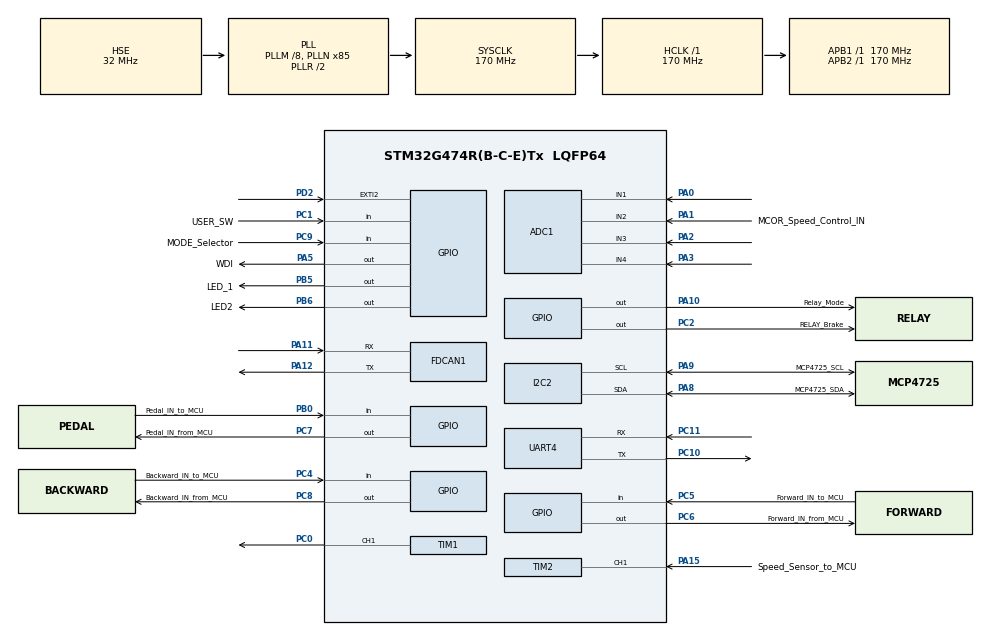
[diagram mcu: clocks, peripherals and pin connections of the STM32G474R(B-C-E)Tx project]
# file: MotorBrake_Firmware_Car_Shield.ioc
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ADC1.Channel-0\#ChannelRegularConversion=ADC_CHANNEL_1
ADC1.Channel-1\#ChannelRegularConversion=ADC_CHANNEL_2
ADC1.Channel-2\#ChannelRegularConversion=ADC_CHANNEL_3
ADC1.Channel-3\#ChannelRegularConversion=ADC_CHANNEL_4
ADC1.ContinuousConvMode=ENABLE
ADC1.DMAContinuousRequests=ENABLE
ADC1.NbrOfConversion=4
ADC1.NbrOfConversionFlag=1
ADC1.OffsetNumber-0\#ChannelRegularConversion=ADC_OFFSET_NONE
ADC1.OffsetNumber-1\#ChannelRegularConversion=ADC_OFFSET_NONE
ADC1.OffsetNumber-2\#ChannelRegularConversion=ADC_OFFSET_NONE
ADC1.OffsetNumber-3\#ChannelRegularConversion=ADC_OFFSET_NONE
ADC1.Rank-0\#ChannelRegularConversion=1
ADC1.Rank-1\#ChannelRegularConversion=2
ADC1.Rank-2\#ChannelRegularConversion=3
ADC1.Rank-3\#ChannelRegularConversion=4
ADC1.SamplingTime-0\#ChannelRegularConversion=ADC_SAMPLETIME_640CYCLES_5
ADC1.SamplingTime-1\#ChannelRegularConversion=ADC_SAMPLETIME_640CYCLES_5
ADC1.SamplingTime-2\#ChannelRegularConversion=ADC_SAMPLETIME_640CYCLES_5
ADC1.SamplingTime-3\#ChannelRegularConversion=ADC_SAMPLETIME_640CYCLES_5
ADC1.master=1
Dma.ADC1.0.Direction=DMA_PERIPH_TO_MEMORY
Dma.ADC1.0.EventEnable=DISABLE
Dma.ADC1.0.Instance=DMA1_Channel1
Dma.ADC1.0.MemDataAlignment=DMA_MDATAALIGN_HALFWORD
Dma.ADC1.0.MemInc=DMA_MINC_ENABLE
Dma.ADC1.0.Mode=DMA_CIRCULAR
Dma.ADC1.0.PeriphDataAlignment=DMA_PDATAALIGN_HALFWORD
Dma.ADC1.0.PeriphInc=DMA_PINC_DISABLE
Dma.ADC1.0.Polarity=HAL_DMAMUX_REQ_GEN_RISING
Dma.ADC1.0.Priority=DMA_PRIORITY_LOW
Dma.ADC1.0.RequestNumber=1
Dma.ADC1.0.SignalID=NONE
Dma.ADC1.0.SyncEnable=DISABLE
Dma.ADC1.0.SyncPolarity=HAL_DMAMUX_SYNC_NO_EVENT
Dma.ADC1.0.SyncRequestNumber=1
Dma.ADC1.0.SyncSignalID=NONE
Dma.Request0=ADC1
FDCAN1.CalculateBaudRateNominal=250000
FDCAN1.CalculateTimeBitNominal=4000
FDCAN1.CalculateTimeQuantumNominal=235.2941176470588
FDCAN1.AutoRetransmission=ENABLE
FDCAN1.NominalPrescaler=40
FDCAN1.NominalSyncJumpWidth=1
FDCAN1.NominalTimeSeg1=13
FDCAN1.NominalTimeSeg2=3
FDCAN1.StdFiltersNbr=2
I2C2.Timing=0x40B285C2
Mcu.Family=STM32G4
Mcu.Name=STM32G474R(B-C-E)Tx
Mcu.Package=LQFP64
NVIC.DMA1_Channel1_IRQn=true\:0\:0\:false\:false\:true\:false\:true\:true
NVIC.EXTI2_IRQn=true\:0\:0\:false\:false\:true\:true\:true\:true
NVIC.PriorityGroup=NVIC_PRIORITYGROUP_4
NVIC.TIM6_DAC_IRQn=true\:0\:0\:false\:false\:true\:true\:true\:true
PA0.Mode=IN1-Single-Ended
PA0.Signal=ADC1_IN1
PA1.GPIO_Label=MCOR_Speed_Control_IN
PA1.Mode=IN2-Single-Ended
PA1.Signal=ADC1_IN2
PA10.GPIO_Label=Relay_Mode
PA10.Signal=GPIO_Output
PA11.Mode=FDCAN_Activate
PA11.Signal=FDCAN1_RX
PA12.Mode=FDCAN_Activate
PA12.Signal=FDCAN1_TX
PA13.Mode=Serial_Wire
PA13.Signal=SYS_JTMS-SWDIO
PA14.Mode=Serial_Wire
PA14.Signal=SYS_JTCK-SWCLK
PA15.GPIO_Label=Speed_Sensor_to_MCU
PA15.Signal=S_TIM2_CH1
PA2.Mode=IN3-Single-Ended
PA2.Signal=ADC1_IN3
PA3.Mode=IN4-Single-Ended
PA3.Signal=ADC1_IN4
PA5.GPIO_Label=WDI
PA5.Signal=GPIO_Output
PA8.GPIO_Label=MCP4725_SDA
PA8.Mode=I2C
PA8.Signal=I2C2_SDA
PA9.GPIO_Label=MCP4725_SCL
PA9.Mode=I2C
PA9.Signal=I2C2_SCL
PB0.GPIO_Label=Pedal_IN_to_MCU
PB0.Signal=GPIO_Input
PB5.GPIO_Label=LED_1
PB5.Signal=GPIO_Output
PB6.GPIO_Label=LED2
PB6.Signal=GPIO_Output
PC0.Signal=S_TIM1_CH1
PC1.GPIO_Label=USER_SW
PC1.GPIO_PuPd=GPIO_PULLDOWN
PC1.Signal=GPIO_Input
PC10.Mode=Asynchronous
PC10.Signal=UART4_TX
PC11.Mode=Asynchronous
PC11.Signal=UART4_RX
PC2.GPIO_Label=RELAY_Brake
PC2.Signal=GPIO_Output
PC4.GPIO_Label=Backward_IN_to_MCU
PC4.Signal=GPIO_Input
PC5.GPIO_Label=Forward_IN_to_MCU
PC5.Signal=GPIO_Input
PC6.GPIO_Label=Forward_IN_from_MCU
PC6.Signal=GPIO_Output
PC7.GPIO_Label=Pedal_IN_from_MCU
PC7.Signal=GPIO_Output
PC8.GPIO_Label=Backward_IN_from_MCU
PC8.Signal=GPIO_Output
PC9.GPIO_Label=MODE_Selector
PC9.Signal=GPIO_Input
PD2.GPIO_ModeDefaultEXTI=GPIO_MODE_IT_FALLING
PD2.Signal=GPXTI2
PF0-OSC_IN.Mode=HSE-External-Oscillator
PF0-OSC_IN.Signal=RCC_OSC_IN
PF1-OSC_OUT.Mode=HSE-External-Oscillator
PF1-OSC_OUT.Signal=RCC_OSC_OUT
ProjectManager.HeapSize=0x200
ProjectManager.StackSize=0x400
ProjectManager.TargetToolchain=STM32CubeIDE
RCC.ADC12Freq_Value=170000000
RCC.ADC345Freq_Value=170000000
RCC.AHBFreq_Value=170000000
RCC.APB1Freq_Value=170000000
RCC.APB1TimFreq_Value=170000000
RCC.APB2Freq_Value=170000000
RCC.APB2TimFreq_Value=170000000
RCC.CortexFreq_Value=170000000
RCC.EXTERNAL_CLOCK_VALUE=12288000
RCC.HCLKFreq_Value=170000000
RCC.HSE_VALUE=32000000
RCC.HSI48_VALUE=48000000
RCC.HSI_VALUE=16000000
RCC.LSE_VALUE=32768
RCC.PLLM=RCC_PLLM_DIV8
RCC.PLLN=85
RCC.PLLSourceVirtual=RCC_PLLSOURCE_HSE
RCC.SYSCLKFreq_VALUE=170000000
RCC.SYSCLKSource=RCC_SYSCLKSOURCE_PLLCLK
RCC.USBFreq_Value=170000000
RCC.VCOOutputFreq_Value=340000000
SH.S_TIM1_CH1.0=TIM1_CH1,PWM Generation1 CH1
SH.S_TIM2_CH1.0=TIM2_CH1,Input_Capture1_from_TI1
TIM1.Channel-PWM\ Generation1\ CH1=TIM_CHANNEL_1
TIM1.PeriodNoDither=20000-1
TIM1.Prescaler=170-1
TIM2.Channel-Input_Capture1_from_TI1=TIM_CHANNEL_1
TIM6.PeriodNoDither=10000-1
TIM6.Prescaler=170-1
VP_SYS_VS_DBSignals.Mode=DisableDeadBatterySignals
VP_TIM1_VS_ClockSourceINT.Mode=Internal
VP_TIM6_VS_ClockSourceINT.Mode=Enable_Timer
board=custom

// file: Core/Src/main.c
/* USER CODE BEGIN Header */
/**
 ******************************************************************************
 * @file           : main.c
 * @brief          : Main program body
 ******************************************************************************
 * @attention
 *
 * Copyright (c) 2026 STMicroelectronics.
 * All rights reserved.
 *
 * This software is licensed under terms that can be found in the LICENSE file
 * in the root directory of this software component.
 * If no LICENSE file comes with this software, it is provided AS-IS.
 *
 ******************************************************************************
 */
/* USER CODE END Header */
#include "main.h"
#include "adc.h"
#include "dma.h"
#include "fdcan.h"
#include "i2c.h"
#include "tim.h"
#include "usart.h"
#include "gpio.h"

/* USER CODE BEGIN Includes */
#include <string.h>   // memcpy() for packing the float current into the CAN frame
/* USER CODE END Includes */

/* USER CODE BEGIN PD */
/* ---- CAN protocol (raw classic-CAN frames bridged to ROS 2 on the PC) ----
 * /brake_command (std_msgs/Bool)  : PC -> STM32, ID 0x130, data[0] = 1 ON / 0 OFF
 * /brake_status  (BrakeStatus.msg): STM32 -> PC, ID 0x131, 8-byte heartbeat:
 *     [0..3] float32 current_ma (little-endian)
 *     [4]    uint8  relay_active   (1 = Relay G2R-24 ON, 0 = OFF)
 *     [5]    uint8  watchdog_status(0 = Normal, 1 = Triggered/fault)
 *     [6..7] uint16 heartbeat sequence counter (little-endian)
 * /servo_command (std_msgs/Float32): PC -> STM32, ID 0x132, 4-byte:
 *     [0..3] float32 angle_deg (little-endian, clamped to 0–180°). This is the
 *            "brake engaged" servo position: stored in flash and recalled on
 *            boot. The servo only drives to it while the relay is ON.
 * (servo_status frame removed — the servo position is no longer reported back) */
#define CAN_ID_BRAKE_CMD      0x130u
#define CAN_ID_BRAKE_STATUS   0x131u
#define CAN_ID_SERVO_CMD      0x132u

/* ---- INA240A2D current sensor (gain 50 V/V) with a 2 mOhm shunt ----------
 * Unidirectional wiring (REF tied to GND) so 0 A -> ~0 V and only the
 * positive direction is measured.
 *   Vout      = I * Rshunt * Gain  ->  0.002 * 50 = 0.1 V/A
 *   I [A]     = (Vadc - offset) / 0.1
 * Change CURRENT_ADC_INDEX if the INA240 output is wired to a different
 * ADC1 rank (adc_buffer[0]=PA0/IN1, [1]=PA1, [2]=PA2, [3]=PA3).            */
#define ADC_VREF              3.3f
#define ADC_FULL_SCALE        4095.0f
#define INA240_GAIN           50.0f
#define SHUNT_OHMS            0.002f
#define CURRENT_V_PER_A       (INA240_GAIN * SHUNT_OHMS)   /* 0.1 V/A */
#define CURRENT_OFFSET_V      0.0f                         /* unidirectional */
#define CURRENT_ADC_INDEX     0u

/* Open-load / motor-fault check: Relay commanded ON but ~no current flowing.
 * Temporarily disabled (set to 1 to re-enable once a real load is connected). */
#define ENABLE_OPENLOAD_CHECK        0
#define CURRENT_FAULT_THRESHOLD_MA   50.0f

/* Overcurrent trip: cut the relay if the current stays >= threshold continuously
 * for OVERCURRENT_TRIP_MS. The delay rejects the brief inrush/noise spike the
 * servo motor produces when it starts moving (engage or release), while still
 * catching a real sustained fault (stall / short). */
#define OVERCURRENT_THRESHOLD_A      14.0f
#define OVERCURRENT_TRIP_MS          150u

/* Moving-average window over the raw ADC current samples. Smooths single-sample
 * spikes (relay switching noise) that were tripping the overcurrent latch. */
#define CURRENT_AVG_WINDOW           16u

/* Heartbeat: TIM6 elapses every 10 ms, so 2 ticks -> 20 ms status rate. */
#define HEARTBEAT_TICKS       2u

/* On a normal release (relay commanded OFF) the servo is driven back to 0° and
 * we keep the relay energised for this long so it can physically get there
 * before power is cut. Faults (E-Stop/overcurrent) skip this and cut at once. */
#define SERVO_SETTLE_MS       3000u
#define SERVO_HOME_DEG        0.0f

/* Persisted "brake engaged" servo angle, stored in the last 2 KB page of bank 2.
 * NOTE: the G474 has no read-while-write, so a page erase (~22 ms) stalls the
 * whole CPU — interrupts included — for its duration. To avoid stalling during a
 * burst of /servo_command frames (which would make CAN look unresponsive), the
 * write is debounced: we only commit once the angle has been stable for
 * FLASH_WRITE_QUIET_MS. One 64-bit record: [31:0] magic, [63:32] float. */
#define FLASH_USER_ADDR       0x0807F800UL
#define FLASH_USER_BANK       FLASH_BANK_2
#define FLASH_USER_PAGE       127u
#define FLASH_USER_MAGIC      0xB7A4E001UL
#define BRAKE_ANGLE_DEFAULT   0.0f
#define FLASH_WRITE_QUIET_MS  800u

/* On a verified flash write, blink LED2 rapidly for a moment as a visual ACK.
 * Driven from the 10 ms TIM6 tick: toggle every LED2_BLINK_PERIOD ticks for
 * LED2_BLINK_TICKS ticks total (100 ticks = ~1 s, toggling every 50 ms ≈ 10 Hz). */
#define LED2_BLINK_TICKS      100u
#define LED2_BLINK_PERIOD     5u

/* Local push-button on PC1 (USER_SW) that toggles the relay. Wired active-high:
 * press connects the pin to 3.3V, internal pull-down holds it low when released. */
#define BTN_TOGGLE_Pin        GPIO_PIN_1
#define BTN_TOGGLE_GPIO_Port  GPIOC

/* E-Stop on PD2: active-low with pull-up (idle HIGH, triggered LOW -> falling). */
#define ESTOP_Pin             GPIO_PIN_2
#define ESTOP_GPIO_Port       GPIOD
/* USER CODE END PD */

/* USER CODE BEGIN PV */
volatile uint8_t relay_cmd = 0;       // 0 = OFF, 1 = ON. Set by /brake_command over CAN (or Live Expression)
volatile float   brake_angle_deg = BRAKE_ANGLE_DEFAULT; // engaged servo position, persisted in flash, set by /servo_command
volatile uint8_t  flash_save_req = 0;  // set by RX ISR when brake_angle_deg changes; flash write runs in main loop
volatile uint32_t flash_req_tick = 0;  // HAL tick of the last brake_angle_deg change (debounce reference)
volatile uint8_t flash_write_ok = 0;  // 1 = last flash write read back OK (visible in Live Expression)
volatile uint16_t led2_blink_ticks = 0; // >0 = LED2 rapid-blink countdown (10 ms ticks), set on a verified write
uint16_t adc_buffer[4];     // สร้าง Buffer รอรับค่าจาก ADC DMA
uint16_t led_counter = 0;

/* Relay/servo release sequencer state (driven in the main loop). */
typedef enum {
	BRAKE_OFF = 0,    // relay open, servo parked at 0°
	BRAKE_ON,         // relay closed, servo driven to brake_angle_deg
	BRAKE_RELEASING   // servo driving back to 0°, relay still on until settle elapses
} brake_state_t;

/* --- Brake status / safety state shared with the ISRs --- */
volatile uint8_t  watchdog_status = 0;   // 0 = Normal, 1 = Triggered (E-Stop or open-load fault). Latched.
volatile uint8_t  can_tx_flag = 0;       // set by TIM6 every HEARTBEAT_TICKS, consumed in main loop
float             current_ma = 0.0f;     // latest INA240 current reading, milliamps
uint16_t          heartbeat_seq = 0;     // rolling counter so the PC can detect dropped frames

FDCAN_TxHeaderTypeDef CanTxHeader;        // configured once in CAN_App_Init() — used for 0x131
/* USER CODE END PV */

void SystemClock_Config(void);
/* USER CODE BEGIN PFP */
static void  CAN_App_Init(void);          // FDCAN filter + start + RX notification
static void  BrakeStatus_Send(void);      // pack and transmit the /brake_status heartbeat frame
static float   Flash_LoadBrakeAngle(float fallback); // recall the persisted brake angle on boot
static uint8_t Flash_SaveBrakeAngle(float angle);    // persist the brake angle; returns 1 if readback verifies
/* USER CODE END PFP */

/* USER CODE BEGIN 0 */
static uint32_t deg_to_pulse(float deg) {
    if (deg < 0.0f)   deg = 0.0f;
    if (deg > 180.0f) deg = 180.0f;
    return (uint32_t)(1000.0f + deg * (1000.0f / 180.0f));
}

/* Read the persisted brake angle. Returns `fallback` if the page was never
 * written (magic mismatch) or holds an out-of-range value. */
static float Flash_LoadBrakeAngle(float fallback) {
    uint64_t rec = *(__IO uint64_t *) FLASH_USER_ADDR;
    if ((uint32_t) (rec & 0xFFFFFFFFUL) != FLASH_USER_MAGIC) {
        return fallback;
    }
    uint32_t bits = (uint32_t) (rec >> 32);
    float angle;
    memcpy(&angle, &bits, sizeof(float));
    if (angle < 0.0f || angle > 180.0f) {
        return fallback;
    }
    return angle;
}

/* Erase the user page and store the brake angle as one 64-bit record. The ~22 ms
 * page erase stalls the whole CPU (no RWW on the G474), so callers must debounce
 * this — see FLASH_WRITE_QUIET_MS. Reads the record back and returns 1 only if it
 * matches what we intended to write. */
static uint8_t Flash_SaveBrakeAngle(float angle) {
    uint32_t bits;
    memcpy(&bits, &angle, sizeof(float));
    uint64_t rec = ((uint64_t) bits << 32) | (uint64_t) FLASH_USER_MAGIC;

    FLASH_EraseInitTypeDef erase = {0};
    uint32_t page_err = 0;
    erase.TypeErase = FLASH_TYPEERASE_PAGES;
    erase.Banks     = FLASH_USER_BANK;
    erase.Page      = FLASH_USER_PAGE;
    erase.NbPages   = 1;

    HAL_StatusTypeDef st = HAL_ERROR;
    HAL_FLASH_Unlock();
    if (HAL_FLASHEx_Erase(&erase, &page_err) == HAL_OK) {
        st = HAL_FLASH_Program(FLASH_TYPEPROGRAM_DOUBLEWORD, FLASH_USER_ADDR, rec);
    }
    HAL_FLASH_Lock();

    /* Verify: the programmed doubleword must read back exactly. */
    return (st == HAL_OK && *(__IO uint64_t *) FLASH_USER_ADDR == rec) ? 1u : 0u;
}
/* USER CODE END 0 */

int main(void)
{

  /* MCU Configuration--------------------------------------------------------*/

  /* Reset of all peripherals, Initializes the Flash interface and the Systick. */
  HAL_Init();

  /* Configure the system clock */
  SystemClock_Config();

  /* Initialize all configured peripherals */
  MX_GPIO_Init();
  MX_DMA_Init();
  MX_ADC1_Init();
  MX_FDCAN1_Init();
  MX_TIM1_Init();
  MX_TIM6_Init();
  MX_I2C2_Init();
  MX_UART4_Init();
  MX_TIM2_Init();
  /* USER CODE BEGIN 2 */
	/* PC1 = local toggle button (active-high, internal pull-down). Configured
	 * here in USER CODE so it survives CubeMX regeneration of gpio.c (CubeMX
	 * generates this pin as USER_SW with GPIO_NOPULL). */
	GPIO_InitTypeDef btn_init = {0};
	__HAL_RCC_GPIOC_CLK_ENABLE();
	btn_init.Pin = BTN_TOGGLE_Pin;
	btn_init.Mode = GPIO_MODE_INPUT;
	btn_init.Pull = GPIO_PULLDOWN;
	btn_init.Speed = GPIO_SPEED_FREQ_LOW;
	HAL_GPIO_Init(BTN_TOGGLE_GPIO_Port, &btn_init);

	/* E-Stop (PD2): CubeMX generates this EXTI pin as GPIO_NOPULL, which leaves
	 * the active-low line floating and fires spurious falling edges -> false
	 * watchdog_status=1. Re-init with internal pull-up (USER CODE = regen-safe)
	 * and drop any edge latched during boot/re-config before we start. */
	GPIO_InitTypeDef estop_init = {0};
	__HAL_RCC_GPIOD_CLK_ENABLE();
	estop_init.Pin = ESTOP_Pin;
	estop_init.Mode = GPIO_MODE_IT_FALLING;
	estop_init.Pull = GPIO_PULLUP;
	estop_init.Speed = GPIO_SPEED_FREQ_LOW;
	HAL_GPIO_Init(ESTOP_GPIO_Port, &estop_init);
	__HAL_GPIO_EXTI_CLEAR_IT(ESTOP_Pin);
	HAL_NVIC_ClearPendingIRQ(EXTI2_IRQn);
	watchdog_status = 0;            // clear false latch from a floating boot edge

	/* Recall the brake angle saved by the last /servo_command (default 0° if the
	 * flash page was never written). */
	brake_angle_deg = Flash_LoadBrakeAngle(BRAKE_ANGLE_DEFAULT);

	CAN_App_Init();                 // ตั้งค่า Filter + Start FDCAN + เปิด RX Interrupt
	HAL_TIM_Base_Start_IT(&htim6);  // เริ่ม Timer ของ WDI
	HAL_TIM_PWM_Start(&htim1, TIM_CHANNEL_1); // เริ่ม PWM ของ Servo
	HAL_ADC_Start_DMA(&hadc1, (uint32_t*) adc_buffer, 4);
  /* USER CODE END 2 */

  /* Infinite loop */
	while (1) {

    /* USER CODE BEGIN 3 */
		/* Relay/servo sequencer:
		 *   OFF  -> ON         : commanded ON (no fault) -> relay closes, servo to brake_angle
		 *   ON                 : servo follows brake_angle live (re-sent /servo_command)
		 *   ON   -> RELEASING  : commanded OFF -> servo to 0°, relay stays on
		 *   RELEASING -> OFF   : after SERVO_SETTLE_MS the relay opens
		 * A fault (watchdog_status=1) cuts the relay immediately from any state. */
		static brake_state_t brake_state = BRAKE_OFF;
		static float    servo_target  = SERVO_HOME_DEG;
		static uint32_t release_tick  = 0;

		if (watchdog_status == 1) {
			/* E-Stop / latched fault: open relay now, no graceful return. */
			HAL_GPIO_WritePin(RELAY_Brake_GPIO_Port, RELAY_Brake_Pin, GPIO_PIN_RESET);
			servo_target = SERVO_HOME_DEG;
			brake_state  = BRAKE_OFF;
		} else {
			switch (brake_state) {
			case BRAKE_OFF:
				HAL_GPIO_WritePin(RELAY_Brake_GPIO_Port, RELAY_Brake_Pin, GPIO_PIN_RESET);
				servo_target = SERVO_HOME_DEG;
				if (relay_cmd == 1) {
					HAL_GPIO_WritePin(RELAY_Brake_GPIO_Port, RELAY_Brake_Pin, GPIO_PIN_SET);
					servo_target = brake_angle_deg;
					brake_state  = BRAKE_ON;
				}
				break;

			case BRAKE_ON:
				HAL_GPIO_WritePin(RELAY_Brake_GPIO_Port, RELAY_Brake_Pin, GPIO_PIN_SET);
				servo_target = brake_angle_deg;   /* follow live angle updates */
				if (relay_cmd == 0) {
					servo_target = SERVO_HOME_DEG; /* drive home before powering off */
					release_tick = HAL_GetTick();
					brake_state  = BRAKE_RELEASING;
				}
				break;

			case BRAKE_RELEASING:
				HAL_GPIO_WritePin(RELAY_Brake_GPIO_Port, RELAY_Brake_Pin, GPIO_PIN_SET);
				servo_target = SERVO_HOME_DEG;
				if (relay_cmd == 1) {              /* re-engaged mid-release */
					servo_target = brake_angle_deg;
					brake_state  = BRAKE_ON;
				} else if ((HAL_GetTick() - release_tick) >= SERVO_SETTLE_MS) {
					HAL_GPIO_WritePin(RELAY_Brake_GPIO_Port, RELAY_Brake_Pin, GPIO_PIN_RESET);
					brake_state = BRAKE_OFF;
				}
				break;
			}
		}

		/* Moving average over the last CURRENT_AVG_WINDOW raw ADC samples to reject
		 * single-sample spikes before converting to current. Ring buffer keeps a
		 * running sum so each iteration is O(1). */
		static uint16_t adc_window[CURRENT_AVG_WINDOW] = {0};
		static uint32_t adc_sum = 0;
		static uint8_t  adc_idx = 0;
		uint16_t adc_raw = adc_buffer[CURRENT_ADC_INDEX];
		adc_sum -= adc_window[adc_idx];
		adc_window[adc_idx] = adc_raw;
		adc_sum += adc_raw;
		adc_idx = (uint8_t) ((adc_idx + 1u) % CURRENT_AVG_WINDOW);
		float adc_avg = (float) adc_sum / (float) CURRENT_AVG_WINDOW;

		/* Convert the averaged INA240 ADC reading into milliamps (unidirectional). */
		float vout = (adc_avg / ADC_FULL_SCALE) * ADC_VREF;
		float amps = (vout - CURRENT_OFFSET_V) / CURRENT_V_PER_A;
		if (amps < 0.0f) {
			amps = 0.0f;
		}
		current_ma = amps * 1000.0f;

		/* Overcurrent protection with a persistence filter: only trip when the
		 * current has been over the threshold continuously for OVERCURRENT_TRIP_MS,
		 * so the servo's brief start-up inrush/noise spike does not cut the relay. */
		static uint32_t oc_over_since = 0;   /* tick the current first crossed over; 0 = below */
		if (amps >= OVERCURRENT_THRESHOLD_A) {
			uint32_t now = HAL_GetTick();
			if (oc_over_since == 0) {
				oc_over_since = (now != 0u) ? now : 1u;  /* 0 is the "below" sentinel */
			}
			if ((now - oc_over_since) >= OVERCURRENT_TRIP_MS) {
				HAL_GPIO_WritePin(RELAY_Brake_GPIO_Port, RELAY_Brake_Pin, GPIO_PIN_RESET);
				relay_cmd    = 0;
				servo_target = SERVO_HOME_DEG;
				brake_state  = BRAKE_OFF;
			}
		} else {
			oc_over_since = 0;   /* dropped back below threshold -> restart the timer */
		}

		/* Drive the servo PWM to the sequencer's current target. */
		__HAL_TIM_SET_COMPARE(&htim1, TIM_CHANNEL_1, deg_to_pulse(servo_target));

		/* Persist a freshly received brake angle outside the RX ISR. Erasing
		 * bank 2 is RWW-safe, so this does not stall the heartbeat below. */
		/* Debounced flash persist: commit only after the angle has been stable for
		 * FLASH_WRITE_QUIET_MS, so a burst of /servo_command frames does not trigger
		 * back-to-back ~22 ms erase stalls (which would drop/delay CAN frames). */
		if (flash_save_req && (HAL_GetTick() - flash_req_tick) >= FLASH_WRITE_QUIET_MS) {
			flash_save_req = 0;
			flash_write_ok = Flash_SaveBrakeAngle(brake_angle_deg);
			if (flash_write_ok) {
				led2_blink_ticks = LED2_BLINK_TICKS;  // rapid-blink LED2 as a write ACK
			}
		}

		/* Transmit the /brake_status heartbeat on the 20 ms tick. */
		if (can_tx_flag) {
			can_tx_flag = 0;
			BrakeStatus_Send();
		}
	}
  /* USER CODE END 3 */
}

void SystemClock_Config(void)
{
  RCC_OscInitTypeDef RCC_OscInitStruct = {0};
  RCC_ClkInitTypeDef RCC_ClkInitStruct = {0};

  /** Configure the main internal regulator output voltage
  */
  HAL_PWREx_ControlVoltageScaling(PWR_REGULATOR_VOLTAGE_SCALE1_BOOST);

  /** Initializes the RCC Oscillators according to the specified parameters
  * in the RCC_OscInitTypeDef structure.
  */
  RCC_OscInitStruct.OscillatorType = RCC_OSCILLATORTYPE_HSE;
  RCC_OscInitStruct.HSEState = RCC_HSE_ON;
  RCC_OscInitStruct.PLL.PLLState = RCC_PLL_ON;
  RCC_OscInitStruct.PLL.PLLSource = RCC_PLLSOURCE_HSE;
  RCC_OscInitStruct.PLL.PLLM = RCC_PLLM_DIV8;
  RCC_OscInitStruct.PLL.PLLN = 85;
  RCC_OscInitStruct.PLL.PLLP = RCC_PLLP_DIV2;
  RCC_OscInitStruct.PLL.PLLQ = RCC_PLLQ_DIV2;
  RCC_OscInitStruct.PLL.PLLR = RCC_PLLR_DIV2;
  if (HAL_RCC_OscConfig(&RCC_OscInitStruct) != HAL_OK)
  {
    Error_Handler();
  }

  /** Initializes the CPU, AHB and APB buses clocks
  */
  RCC_ClkInitStruct.ClockType = RCC_CLOCKTYPE_HCLK|RCC_CLOCKTYPE_SYSCLK
                              |RCC_CLOCKTYPE_PCLK1|RCC_CLOCKTYPE_PCLK2;
  RCC_ClkInitStruct.SYSCLKSource = RCC_SYSCLKSOURCE_PLLCLK;
  RCC_ClkInitStruct.AHBCLKDivider = RCC_SYSCLK_DIV1;
  RCC_ClkInitStruct.APB1CLKDivider = RCC_HCLK_DIV1;
  RCC_ClkInitStruct.APB2CLKDivider = RCC_HCLK_DIV1;

  if (HAL_RCC_ClockConfig(&RCC_ClkInitStruct, FLASH_LATENCY_4) != HAL_OK)
  {
    Error_Handler();
  }
}

/* USER CODE BEGIN 4 */

/**
  * @brief Configure the FDCAN acceptance filter, start the peripheral and
  *        enable the RX FIFO0 "new message" interrupt. Also prepares the
  *        static TX header used for every /brake_status frame.
  */
static void CAN_App_Init(void)
{
	/* Re-initialise FDCAN1 here (in USER CODE) so the settings survive CubeMX
	 * regeneration of fdcan.c. MX_FDCAN1_Init() already ran, so the peripheral
	 * is in configuration mode; we override the values that CubeMX regenerates
	 * from the .ioc back to placeholders.
	 *   250 kbps @ 170 MHz kernel clock: 170e6 / (40 * (1+13+3)) = 250 000 bps
	 *   Sample point = (1+13)/17 = 82.4 %                                      */
	hfdcan1.Init.AutoRetransmission = ENABLE;
	hfdcan1.Init.NominalPrescaler = 40;
	hfdcan1.Init.NominalSyncJumpWidth = 1;
	hfdcan1.Init.NominalTimeSeg1 = 13;
	hfdcan1.Init.NominalTimeSeg2 = 3;
	hfdcan1.Init.StdFiltersNbr = 2;   /* slot 0: /brake_command, slot 1: /servo_command */
	if (HAL_FDCAN_Init(&hfdcan1) != HAL_OK) {
		Error_Handler();
	}

	FDCAN_FilterTypeDef sFilterConfig;
	sFilterConfig.IdType = FDCAN_STANDARD_ID;
	sFilterConfig.FilterType = FDCAN_FILTER_MASK;
	sFilterConfig.FilterConfig = FDCAN_FILTER_TO_RXFIFO0;
	sFilterConfig.FilterID2 = 0x7FF; /* full mask -> exact ID match */

	/* Accept /brake_command (0x130) */
	sFilterConfig.FilterIndex = 0;
	sFilterConfig.FilterID1 = CAN_ID_BRAKE_CMD;
	if (HAL_FDCAN_ConfigFilter(&hfdcan1, &sFilterConfig) != HAL_OK) {
		Error_Handler();
	}

	/* Accept /servo_command (0x132) */
	sFilterConfig.FilterIndex = 1;
	sFilterConfig.FilterID1 = CAN_ID_SERVO_CMD;
	if (HAL_FDCAN_ConfigFilter(&hfdcan1, &sFilterConfig) != HAL_OK) {
		Error_Handler();
	}
	if (HAL_FDCAN_ConfigGlobalFilter(&hfdcan1, FDCAN_REJECT, FDCAN_REJECT,
			FDCAN_REJECT_REMOTE, FDCAN_REJECT_REMOTE) != HAL_OK) {
		Error_Handler();
	}

	/* TX header for /brake_status (0x131, classic CAN, 8 bytes). */
	CanTxHeader.Identifier = CAN_ID_BRAKE_STATUS;
	CanTxHeader.IdType = FDCAN_STANDARD_ID;
	CanTxHeader.TxFrameType = FDCAN_DATA_FRAME;
	CanTxHeader.DataLength = FDCAN_DLC_BYTES_8;
	CanTxHeader.ErrorStateIndicator = FDCAN_ESI_ACTIVE;
	CanTxHeader.BitRateSwitch = FDCAN_BRS_OFF;
	CanTxHeader.FDFormat = FDCAN_CLASSIC_CAN;
	CanTxHeader.TxEventFifoControl = FDCAN_NO_TX_EVENTS;
	CanTxHeader.MessageMarker = 0;

	if (HAL_FDCAN_Start(&hfdcan1) != HAL_OK) {
		Error_Handler();
	}
	if (HAL_FDCAN_ActivateNotification(&hfdcan1,
			FDCAN_IT_RX_FIFO0_NEW_MESSAGE, 0) != HAL_OK) {
		Error_Handler();
	}
}

/**
  * @brief Pack the brake status into an 8-byte frame and queue it for TX.
  *        Also runs the "Relay ON but no current" open-load validation.
  */
static void BrakeStatus_Send(void)
{
	uint8_t relay_active =
			(HAL_GPIO_ReadPin(RELAY_Brake_GPIO_Port, RELAY_Brake_Pin) == GPIO_PIN_SET) ? 1u : 0u;

	/* Current Validation: Relay is ON but almost no current is flowing ->
	 * broken motor wire or failed motor. Latch the fault so the PC sees it.
	 * Disabled while bench-testing without a load (see ENABLE_OPENLOAD_CHECK). */
#if ENABLE_OPENLOAD_CHECK
	if (relay_active && (current_ma < CURRENT_FAULT_THRESHOLD_MA)) {
		watchdog_status = 1;
	}
#endif

	uint8_t TxData[8];
	memcpy(&TxData[0], &current_ma, sizeof(float)); /* [0..3] float32, little-endian */
	TxData[4] = relay_active;                        /* [4]    relay_active */
	TxData[5] = watchdog_status;                     /* [5]    watchdog_status */
	TxData[6] = (uint8_t) (heartbeat_seq & 0xFFu);   /* [6..7] sequence counter */
	TxData[7] = (uint8_t) (heartbeat_seq >> 8);
	heartbeat_seq++;

	HAL_FDCAN_AddMessageToTxFifoQ(&hfdcan1, &CanTxHeader, TxData);
}

/**
  * @brief FDCAN RX FIFO0 callback: decode /brake_command and /servo_command frames.
  */
void HAL_FDCAN_RxFifo0Callback(FDCAN_HandleTypeDef *hfdcan, uint32_t RxFifo0ITs)
{
	if ((RxFifo0ITs & FDCAN_IT_RX_FIFO0_NEW_MESSAGE) == 0u) {
		return;
	}

	/* Drain every frame queued in FIFO0, not just one: a flash-erase stall can
	 * let several pile up, and reading only one would leave the rest unprocessed. */
	FDCAN_RxHeaderTypeDef RxHeader;
	uint8_t RxData[8];
	while (HAL_FDCAN_GetRxMessage(hfdcan, FDCAN_RX_FIFO0, &RxHeader, RxData) == HAL_OK) {
		if (RxHeader.Identifier == CAN_ID_BRAKE_CMD) {
			/* std_msgs/Bool: data:true -> Relay ON (engage), data:false -> Relay OFF. */
			relay_cmd = (RxData[0] != 0u) ? 1u : 0u;
		} else if (RxHeader.Identifier == CAN_ID_SERVO_CMD) {
			/* std_msgs/Float32: new "brake engaged" angle. Takes effect immediately;
			 * the flash persist is debounced in the main loop (FLASH_WRITE_QUIET_MS). */
			float angle;
			memcpy(&angle, &RxData[0], sizeof(float));
			if (angle < 0.0f)   angle = 0.0f;
			if (angle > 180.0f) angle = 180.0f;
			if (angle != brake_angle_deg) {
				brake_angle_deg = angle;
				flash_save_req  = 1;
				flash_req_tick  = HAL_GetTick();  /* restart the debounce window */
			}
		}
	}
}

void HAL_TIM_PeriodElapsedCallback(TIM_HandleTypeDef *htim) {
	if (htim->Instance == TIM6) // ทุกๆ 10ms
	{
		// 1. ทริกเกอร์ Watchdog
		HAL_GPIO_TogglePin(WDI_GPIO_Port, WDI_Pin);

		// 2a. LED2 rapid-blink (~10 Hz) as a flash-write ACK, for ~1 s after a
		//     verified write. Overrides LED2's normal heartbeat while active.
		if (led2_blink_ticks > 0) {
			led2_blink_ticks--;
			static uint8_t b = 0;
			if (++b >= LED2_BLINK_PERIOD) {
				b = 0;
				HAL_GPIO_TogglePin(GPIOB, LED2_Pin);
			}
			if (led2_blink_ticks == 0) {
				HAL_GPIO_WritePin(GPIOB, LED2_Pin, GPIO_PIN_RESET); // leave LED2 in a known state
			}
		}

		// 2b. นับเวลาให้ครบ 1 วินาที (10ms * 100 = 1000ms) สำหรับ LED heartbeat
		led_counter++;
		if (led_counter >= 100) {
			HAL_GPIO_TogglePin(GPIOB, LED_1_Pin);
			if (led2_blink_ticks == 0) {
				HAL_GPIO_TogglePin(GPIOB, LED2_Pin); // normal LED2 heartbeat when not ACK-blinking
			}
			led_counter = 0;
		}

		// 3. ตั้ง Flag ส่ง Heartbeat /brake_status ทุกๆ HEARTBEAT_TICKS (20ms)
		static uint16_t hb_counter = 0;
		if (++hb_counter >= HEARTBEAT_TICKS) {
			hb_counter = 0;
			can_tx_flag = 1;
		}

		// 4. ปุ่ม Toggle relay ที่ขา PC1 (active-high). สุ่มอ่านทุก 10ms = debounce
		//    สลับสถานะเฉพาะตอน "กดลง" (ขอบ released->pressed) เท่านั้น
		static GPIO_PinState btn_prev = GPIO_PIN_RESET; // released = low (pull-down)
		GPIO_PinState btn_now = HAL_GPIO_ReadPin(BTN_TOGGLE_GPIO_Port, BTN_TOGGLE_Pin);
		if (btn_prev == GPIO_PIN_RESET && btn_now == GPIO_PIN_SET) {
			relay_cmd = (relay_cmd == 1) ? 0u : 1u; // toggle
		}
		btn_prev = btn_now;
	}
}

void HAL_GPIO_EXTI_Callback(uint16_t GPIO_Pin)
{
  if (GPIO_Pin == GPIO_PIN_2) // ตรวจสอบว่าเป็น Interrupt จากขา PD2
  {
    // 0. กรอง glitch: noise ตอนคอยล์ relay สวิตช์ทำให้ PD2 เกิด falling edge ปลอม.
    //    E-Stop จริงจะกดค้างให้สาย LOW ต่อเนื่อง ส่วน glitch จะเด้งกลับ HIGH ทันที.
    //    spin สั้นๆ แล้วอ่านซ้ำ ถ้ากลับเป็น HIGH = glitch -> ไม่ latch.
    for (volatile uint32_t i = 0; i < 4000u; i++) { __NOP(); }
    if (HAL_GPIO_ReadPin(ESTOP_GPIO_Port, ESTOP_Pin) != GPIO_PIN_RESET) {
      __HAL_GPIO_EXTI_CLEAR_IT(ESTOP_Pin);  // ทิ้ง edge ปลอม
      return;
    }

    // 1. สั่งปิด Relay ทันทีที่ระดับฮาร์ดแวร์
    HAL_GPIO_WritePin(RELAY_Brake_GPIO_Port, RELAY_Brake_Pin, GPIO_PIN_RESET);

    // 2. บังคับเคลียร์ตัวแปรคำสั่งใน Live Expression
    // เพื่อป้องกันไม่ให้โค้ดใน while(1) กลับมาสั่งเปิด Relay อีก
    relay_cmd = 0;

    // 3. ตั้งสถานะ watchdog ให้เป็น Triggered เพื่อให้ PC รู้ว่าเกิด E-Stop
    watchdog_status = 1;
  }
}
/* USER CODE END 4 */

void Error_Handler(void)
{
	__disable_irq();
	while (1) {
	}
}
